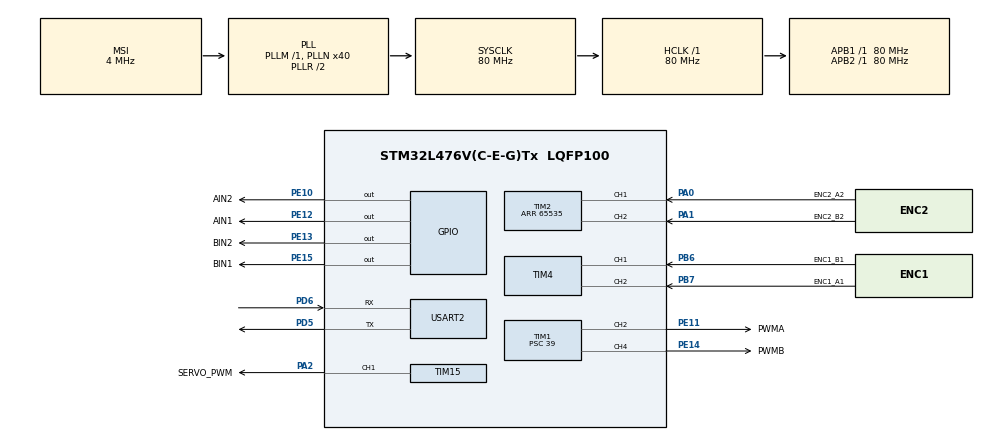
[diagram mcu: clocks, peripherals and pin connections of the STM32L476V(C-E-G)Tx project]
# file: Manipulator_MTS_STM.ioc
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Mcu.Family=STM32L4
Mcu.Name=STM32L476V(C-E-G)Tx
Mcu.Package=LQFP100
NVIC.PriorityGroup=NVIC_PRIORITYGROUP_4
NVIC.TIM1_BRK_TIM15_IRQn=true\:0\:0\:false\:false\:true\:true\:true\:true
NVIC.TIM2_IRQn=true\:0\:0\:false\:false\:true\:true\:true\:true
NVIC.TIM4_IRQn=true\:0\:0\:false\:false\:true\:true\:true\:true
NVIC.TIM6_DAC_IRQn=true\:0\:0\:false\:false\:true\:true\:true\:true
NVIC.USART2_IRQn=true\:0\:0\:false\:false\:true\:true\:true\:true
PA0.GPIO_Label=ENC2_A2
PA0.Signal=S_TIM2_CH1
PA1.GPIO_Label=ENC2_B2
PA1.Signal=S_TIM2_CH2
PA13\ (JTMS-SWDIO).Mode=Serial_Wire
PA13\ (JTMS-SWDIO).Signal=SYS_JTMS-SWDIO
PA14\ (JTCK-SWCLK).Mode=Serial_Wire
PA14\ (JTCK-SWCLK).Signal=SYS_JTCK-SWCLK
PA2.GPIO_Label=SERVO_PWM
PA2.Signal=S_TIM15_CH1
PB6.GPIO_Label=ENC1_B1
PB6.Signal=S_TIM4_CH1
PB7.GPIO_Label=ENC1_A1
PB7.Signal=S_TIM4_CH2
PD5.Mode=Asynchronous
PD5.Signal=USART2_TX
PD6.Mode=Asynchronous
PD6.Signal=USART2_RX
PE10.GPIO_Label=AIN2
PE10.Signal=GPIO_Output
PE11.GPIO_Label=PWMA
PE11.Signal=S_TIM1_CH2
PE12.GPIO_Label=AIN1
PE12.Signal=GPIO_Output
PE13.GPIO_Label=BIN2
PE13.Signal=GPIO_Output
PE14.GPIO_Label=PWMB
PE14.Signal=S_TIM1_CH4
PE15.GPIO_Label=BIN1
PE15.Signal=GPIO_Output
PH0-OSC_IN\ (PH0).Mode=HSE-External-Oscillator
PH0-OSC_IN\ (PH0).Signal=RCC_OSC_IN
PH1-OSC_OUT\ (PH1).Mode=HSE-External-Oscillator
PH1-OSC_OUT\ (PH1).Signal=RCC_OSC_OUT
ProjectManager.HeapSize=0x200
ProjectManager.StackSize=0x400
ProjectManager.TargetToolchain=STM32CubeIDE
RCC.AHBFreq_Value=80000000
RCC.APB1Freq_Value=80000000
RCC.APB1TimFreq_Value=80000000
RCC.APB2Freq_Value=80000000
RCC.APB2TimFreq_Value=80000000
RCC.CortexFreq_Value=80000000
RCC.HCLKFreq_Value=80000000
RCC.HSE_VALUE=8000000
RCC.HSI_VALUE=16000000
RCC.LSE_VALUE=32768
RCC.MSI_VALUE=4000000
RCC.PLLN=40
RCC.PREFETCH_ENABLE=1
RCC.SYSCLKFreq_VALUE=80000000
RCC.SYSCLKSource=RCC_SYSCLKSOURCE_PLLCLK
RCC.VCOOutputFreq_Value=160000000
SH.S_TIM15_CH1.0=TIM15_CH1,PWM Generation1 CH1
SH.S_TIM1_CH2.0=TIM1_CH2,PWM Generation2 CH2
SH.S_TIM1_CH4.0=TIM1_CH4,PWM Generation4 CH4
SH.S_TIM2_CH1.0=TIM2_CH1,Encoder_Interface
SH.S_TIM2_CH2.0=TIM2_CH2,Encoder_Interface
SH.S_TIM4_CH1.0=TIM4_CH1,Encoder_Interface
SH.S_TIM4_CH2.0=TIM4_CH2,Encoder_Interface
TIM1.AutoReloadPreload=TIM_AUTORELOAD_PRELOAD_DISABLE
TIM1.Channel-PWM\ Generation2\ CH2=TIM_CHANNEL_2
TIM1.Channel-PWM\ Generation4\ CH4=TIM_CHANNEL_4
TIM1.Period=99
TIM1.Prescaler=39
TIM15.AutoReloadPreload=TIM_AUTORELOAD_PRELOAD_ENABLE
TIM15.Channel-PWM\ Generation1\ CH1=TIM_CHANNEL_1
TIM15.Period=20000-1
TIM15.Prescaler=79
TIM15.Pulse-PWM\ Generation1\ CH1=0
TIM2.EncoderMode=TIM_ENCODERMODE_TI12
TIM2.IC1Filter=15
TIM2.IC2Filter=15
TIM2.Period=65535
TIM4.EncoderMode=TIM_ENCODERMODE_TI12
TIM4.IC1Filter=15
TIM4.IC2Filter=15
TIM6.Period=999
TIM6.Prescaler=7999
USART2.VirtualMode-Asynchronous=VM_ASYNC
VP_TIM6_VS_ClockSourceINT.Mode=Enable_Timer
board=STM32L476G-DISCO

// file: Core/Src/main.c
/* USER CODE BEGIN Header */
/**
  ******************************************************************************
  * @file           : main.c
  * @brief          : Main program body
  ******************************************************************************
  * @attention
  *
  * Copyright (c) 2022 STMicroelectronics.
  * All rights reserved.
  *
  * This software is licensed under terms that can be found in the LICENSE file
  * in the root directory of this software component.
  * If no LICENSE file comes with this software, it is provided AS-IS.
  *
  ******************************************************************************
  */
/* USER CODE END Header */
#include "main.h"
#include "tim.h"
#include "usart.h"
#include "gpio.h"

/* USER CODE BEGIN Includes */
#include <stdio.h>
#include <string.h>
#include <stdlib.h>
#include "pid.h"
#include "geometrik.h"
#include "structposition.h"
/* USER CODE END Includes */

/* USER CODE BEGIN PD */
#define MIN_ANGEL 0
#define MAX_ANGEL 180 //1800
#define PWM_MIN 1000
#define PWM_MAX 4000
/* USER CODE END PD */

/* USER CODE BEGIN PM */
typedef enum
{
	CW = 1, // ruch zgodnie z ruchem wskazówek zegara
	CCW = 0// ruch przeciwnie do rucho wskazówek zegara
}MotorDirection;
/* USER CODE END PM */

/* USER CODE BEGIN PV */
  int moveFlag = 0;
  float u1, u2;
  int enc_pos1, enc_pos2;
  int16_t count1, count2;
  long int position1, position2;
  PidStruct *pid1, *pid2;
  Position Pos={0,0,0,0,0,0};
  float kp=0.3, ki=1.3, kd=0.5;
  uint8_t znak;
  uint8_t odebrano[15];
  int moveq1 = 0, moveq2 = 0, moveq3 = 0, moveq = 0;
  int moveCoordinates = 0;
  char data[3];
  int value = 20;
  uint16_t katy[7] = {0, 30, 45, 60, 90, 135, 180};
  int16_t pwm_tab[4] = {-100, -50, 50, 100};
  int move = 0;
  int itx = 0;

/* USER CODE END PV */

void SystemClock_Config(void);

/* USER CODE BEGIN 0 */

int _write(int file, char *ptr, int len) {
	HAL_UART_Transmit(&huart2, (uint8_t*)ptr, len, 50);
	return len;
}

void indeks(uint8_t liczba){
	if(liczba == '0'){
		value = 0;
	}
	if(liczba == '1'){
		value = 1;
	}
	if(liczba == '2'){
		value = 2;
	}
	if(liczba == '3'){
		value = 3;
	}
	if(liczba == '4'){
		value = 4;
	}
	if(liczba == '5'){
		value = 5;
	}
	if(liczba == '6'){
		value = 6;
	}
	if(liczba == '7'){
		value = 7;
	}
}

void menu()
{
	printf("Manipulator MTS\n\r");
	HAL_Delay(10);
	printf("q1 %d\n\r", Pos.q1);
	HAL_Delay(10);
	printf("q2 %d\n\r", Pos.q2);
	HAL_Delay(10);
	printf("q3 %d\n\r", Pos.q3);
	HAL_Delay(10);
	printf("X %d\n\r", Pos.x);
	HAL_Delay(10);
	printf("Y %d\n\r", Pos.y);
	HAL_Delay(10);
	printf("Z %d\n\r", Pos.z);
	HAL_Delay(10);
}

void motorA_Direction(MotorDirection dir){
	if(dir == CW){
		HAL_GPIO_WritePin(AIN1_GPIO_Port, AIN1_Pin, GPIO_PIN_SET);
		HAL_GPIO_WritePin(AIN2_GPIO_Port, AIN2_Pin, GPIO_PIN_RESET);
	}

	if(dir == CCW){
		HAL_GPIO_WritePin(AIN1_GPIO_Port, AIN1_Pin, GPIO_PIN_RESET);
		HAL_GPIO_WritePin(AIN2_GPIO_Port, AIN2_Pin, GPIO_PIN_SET);
	}
}

void motorB_Direction(MotorDirection dir){
	if(dir == CW){
		HAL_GPIO_WritePin(BIN1_GPIO_Port, BIN1_Pin, GPIO_PIN_SET);
		HAL_GPIO_WritePin(BIN2_GPIO_Port, BIN2_Pin, GPIO_PIN_RESET);
	}

	if(dir == CCW){
		HAL_GPIO_WritePin(BIN1_GPIO_Port, BIN1_Pin, GPIO_PIN_RESET);
		HAL_GPIO_WritePin(BIN2_GPIO_Port, BIN2_Pin, GPIO_PIN_SET);
	}
}

void motorA_move(int32_t pwm){
	if(pwm > htim1.Instance->ARR){
		pwm = htim1.Instance->ARR;
	}
	else if(pwm < -htim1.Instance->ARR){
		pwm = -htim1.Instance->ARR;
	}

	if(pwm >= 0){
		motorA_Direction(CW);
	}else{
		motorA_Direction(CCW);
	}

	__HAL_TIM_SET_COMPARE(&htim1, TIM_CHANNEL_2, abs(pwm));
}

void motorB_move(int32_t pwm){
	if(pwm > 100){
		pwm = 100;
	}
	else if(pwm < -100){
		pwm = -100;
	}

	if(pwm >= 0){
		motorB_Direction(CW);
	}else{
		motorB_Direction(CCW);
	}

	__HAL_TIM_SET_COMPARE(&htim1, TIM_CHANNEL_4, abs(pwm));
}

void motorA_stopMotor(){
	__HAL_TIM_SET_COMPARE(&htim1, TIM_CHANNEL_2, 0);
	HAL_GPIO_WritePin(AIN1_GPIO_Port, AIN1_Pin, GPIO_PIN_RESET);
	HAL_GPIO_WritePin(AIN2_GPIO_Port, AIN2_Pin, GPIO_PIN_RESET);
}

void motorB_stopMotor(){
	__HAL_TIM_SET_COMPARE(&htim1, TIM_CHANNEL_4, 0);
	HAL_GPIO_WritePin(BIN1_GPIO_Port, BIN1_Pin, GPIO_PIN_RESET);
	HAL_GPIO_WritePin(BIN2_GPIO_Port, BIN2_Pin, GPIO_PIN_RESET);
}

// 45 = 450
// step ((1000*(PWM_MAX - PWM_MIN) / (MAX_ANGEL - MIN_ANGEL));
void servo_moveAngel(uint16_t angel, MotorDirection dir){
	uint16_t pwm;
	if(angel > MAX_ANGEL){
		angel = MAX_ANGEL;
	}
	else if(angel < MIN_ANGEL){
		angel = MIN_ANGEL;
	}

	if(dir == CW){
		pwm = PWM_MIN + (angel*(PWM_MAX - PWM_MIN)/MAX_ANGEL); // excel mowi ze wylicza dobrze
		// pwm = PWM_MIN + ((angel - MIN_ANGEL) * step) / 1000;
	}
	else{
		pwm = PWM_MAX - (angel*(PWM_MAX - PWM_MIN)/MAX_ANGEL);
	}

	__HAL_TIM_SET_COMPARE(&htim15, TIM_CHANNEL_1, pwm + 50);
}
/*void enc_position2(int16_t *position)
{
	position = ((int16_t)(htim4.Instance->CNT))/4;
}*/

/* USER CODE END 0 */

int main(void)
{

  /* MCU Configuration--------------------------------------------------------*/

  /* Reset of all peripherals, Initializes the Flash interface and the Systick. */
  HAL_Init();

  /* Configure the system clock */
  SystemClock_Config();

  /* Initialize all configured peripherals */
  MX_GPIO_Init();
  MX_TIM1_Init();
  MX_TIM2_Init();
  MX_TIM15_Init();
  MX_TIM4_Init();
  MX_TIM6_Init();
  MX_USART2_UART_Init();
  /* USER CODE BEGIN 2 */
  HAL_UART_Receive_IT(&huart2, &znak, 1);
  HAL_TIM_PWM_Start(&htim15, TIM_CHANNEL_1); //servo   		q3
  //HAL_TIM_PWM_Start(&htim1, TIM_CHANNEL_2); // silnik 1 	q1
  HAL_TIM_PWM_Start(&htim1, TIM_CHANNEL_4); // silnik 2		q2
  __HAL_TIM_SET_COMPARE(&htim15, TIM_CHANNEL_1, 1000); // serwo pozycja startowa
  //pid_init(pid1, kp, ki, kd); / silnik 1
  pid_init(pid2, kp, ki, kd);

  HAL_TIM_Encoder_Start(&htim2, TIM_CHANNEL_ALL); //silnik 2
  //HAL_TIM_Encoder_Start(&htim4, TIM_CHANNEL_ALL); //silnik 1

	//HAL_GPIO_WritePin(AIN1_GPIO_Port, AIN1_Pin, GPIO_PIN_RESET);
	//HAL_GPIO_WritePin(AIN2_GPIO_Port, AIN2_Pin, GPIO_PIN_SET);
  //motorB_Direction(CW);
  /*for(int i=0; i<20; i++){
	  motorB_move(50-i);
	  HAL_Delay(10);

  }
  HAL_Delay(200);
  motorB_stopMotor();*/
  /* USER CODE END 2 */

  /* Infinite loop */
  /* USER CODE BEGIN WHILE */
  menu();
  while (1)
  {
	  if(moveFlag == 1){
		  if(moveq == 1){
			  if(moveq2 == 1 && move == 1){
				  for(int i=0; i<15; i++){
					  if(pwm_tab[value]>0)
						  motorB_Direction(CW);
					  else{
						  motorB_Direction(CCW);
					  }
					  HAL_Delay(250);
					  motorB_move(abs(pwm_tab[value]));
					  moveq2 = 0;
					  moveq = 0;
					  move = 0;
				  }
				  HAL_Delay(200);
				  motorB_stopMotor();
			  }
			  if(moveq3 == 1 && move == 1){
					 servo_moveAngel(katy[value], CW);
					 moveq3 = 0;
					 move = 0;
			  }
		  }
		  moveFlag = 0;
	  }
	  //menu();
	  //HAL_UART_Receive(&huart2, &znak, 1, 50);

		 /* servo_moveAngel(0, CW);
		  HAL_Delay(1000);
		  servo_moveAngel(90, CW);
		  HAL_Delay(1000);*/
		  //servo_moveAngel(45, CW);
		  //HAL_Delay(1000);
		  //servo_moveAngel(90, CW);
		  //HAL_Delay(1000);
		  //servo_moveAngel(0, CCW);
		  //HAL_Delay(1000);
		  //menu();

	  /*__HAL_TIM_SET_COMPARE(&htim15, TIM_CHANNEL_1, 1000); //0
	  HAL_Delay(1000);
	  __HAL_TIM_SET_COMPARE(&htim15, TIM_CHANNEL_1, 1500); //45
	  HAL_Delay(1000);
	  __HAL_TIM_SET_COMPARE(&htim15, TIM_CHANNEL_1, 2000); //90
	  HAL_Delay(1000);*/

    /* USER CODE END WHILE */

  }
}

void SystemClock_Config(void)
{
  RCC_OscInitTypeDef RCC_OscInitStruct = {0};
  RCC_ClkInitTypeDef RCC_ClkInitStruct = {0};

  /** Configure the main internal regulator output voltage
  */
  if (HAL_PWREx_ControlVoltageScaling(PWR_REGULATOR_VOLTAGE_SCALE1) != HAL_OK)
  {
    Error_Handler();
  }

  /** Initializes the RCC Oscillators according to the specified parameters
  * in the RCC_OscInitTypeDef structure.
  */
  RCC_OscInitStruct.OscillatorType = RCC_OSCILLATORTYPE_MSI;
  RCC_OscInitStruct.MSIState = RCC_MSI_ON;
  RCC_OscInitStruct.MSICalibrationValue = 0;
  RCC_OscInitStruct.MSIClockRange = RCC_MSIRANGE_6;
  RCC_OscInitStruct.PLL.PLLState = RCC_PLL_ON;
  RCC_OscInitStruct.PLL.PLLSource = RCC_PLLSOURCE_MSI;
  RCC_OscInitStruct.PLL.PLLM = 1;
  RCC_OscInitStruct.PLL.PLLN = 40;
  RCC_OscInitStruct.PLL.PLLP = RCC_PLLP_DIV7;
  RCC_OscInitStruct.PLL.PLLQ = RCC_PLLQ_DIV2;
  RCC_OscInitStruct.PLL.PLLR = RCC_PLLR_DIV2;
  if (HAL_RCC_OscConfig(&RCC_OscInitStruct) != HAL_OK)
  {
    Error_Handler();
  }

  /** Initializes the CPU, AHB and APB buses clocks
  */
  RCC_ClkInitStruct.ClockType = RCC_CLOCKTYPE_HCLK|RCC_CLOCKTYPE_SYSCLK
                              |RCC_CLOCKTYPE_PCLK1|RCC_CLOCKTYPE_PCLK2;
  RCC_ClkInitStruct.SYSCLKSource = RCC_SYSCLKSOURCE_PLLCLK;
  RCC_ClkInitStruct.AHBCLKDivider = RCC_SYSCLK_DIV1;
  RCC_ClkInitStruct.APB1CLKDivider = RCC_HCLK_DIV1;
  RCC_ClkInitStruct.APB2CLKDivider = RCC_HCLK_DIV1;

  if (HAL_RCC_ClockConfig(&RCC_ClkInitStruct, FLASH_LATENCY_4) != HAL_OK)
  {
    Error_Handler();
  }
}

/* USER CODE BEGIN 4 */
void HAL_UART_RxCpltCallback(UART_HandleTypeDef *huart)
{
	HAL_UART_Transmit(&huart2, &znak, 1, 100);
	itx++;
	if(znak == 'm'){
		moveFlag = 1;
	}
	if(znak == 'q'){
		moveq = 1;
	}
	if(znak == 'a'){
		moveq1 = 1;
	}
	if(znak == 'b'){
		moveq2 = 1;
	}
	if(znak == 'c'){
		moveq3 = 1;
	}

	if(moveFlag == 1 && moveq == 1 && moveq2 == 1 && itx == 4){
		indeks(znak);
		move = 1;
		itx = 0;
	}
	if(moveFlag == 1 && moveq == 1 && moveq3 == 1 && itx == 4){
		indeks(znak);
		move = 1;
		itx = 0;
	}

	/*char *tmp;
	if(data[0] == 'm'){
		moveFlag = 1;
	}
	if(data[1] == 'q'){
		if(data[2] == '1'){
			moveq1 = 1;
			tmp = strtok(data, " ");
			tmp = strtok(data, " ");
			tmp = tmp+1;
			Pos.q1 = atoi(tmp);
		}
		if(data[2] == '2'){
			moveq2 = 1;
			tmp = strtok(data, " ");
			tmp = tmp+1;
			Pos.q2 = atoi(tmp);
		}
		if(data[2] == '3'){
			moveq3 = 1;
			tmp = strtok(data, " ");
			tmp = tmp+1;
			Pos.q3 = atoi(tmp);
		}
	}

	if(data[0] == 'c'){
		moveCoordinates = 1;
	}
*/
	HAL_UART_Receive_IT(&huart2, &znak, 1);
}
/* USER CODE END 4 */

void Error_Handler(void)
{
  __disable_irq();
  while (1)
  {
  }
}
